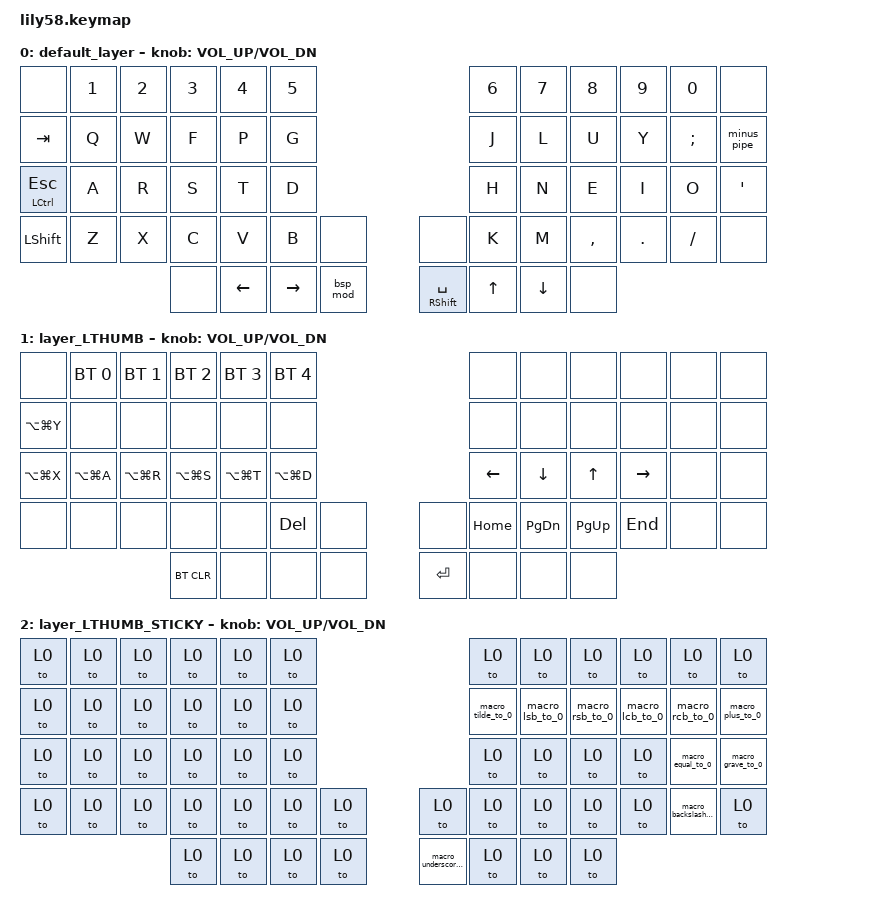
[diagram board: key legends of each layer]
/*
 * Copyright (c) 2020 The ZMK Contributors
 *
 * SPDX-License-Identifier: MIT
 */

#include <behaviors.dtsi>
#include <dt-bindings/zmk/keys.h>
#include <dt-bindings/zmk/bt.h>
#include <dt-bindings/zmk/ext_power.h>

/ {
    behaviors {
        #include "macros.dtsi"
        #include "custom.dtsi"
    };
    keymap {
        compatible = "zmk,keymap";

        default_layer {
// ------------------------------------------------------------------------------------------------------------
// |       |  1  |  2  |  3   |  4   |  5   |                   |  6   |  7    |  8    |  9   |   0   |       |
// |  TAB  |  Q  |  W  |  F   |  P   |  G   |                   |  J   |  L    |  U    |  Y   |   ;   |  - |  |
// |CTRLESC|  A  |  R  |  S   |  T   |  D   |                   |  H   |  N    |  E    |  I   |   O   |   '   |
// | SHIFT |  Z  |  X  |  C   |  V   |  B   |        |  |       |  K   |  M    |  ,    |  .   |   /   |       |
//                     |      | LEFT | RIGHT| LTHUMB |  | RTHUMB|  UP  | DOWN  |       |
            bindings = <
        &none &kp N1 &kp N2 &kp N3   &kp N4   &kp N5                            &kp N6 &kp N7   &kp N8    &kp N9  &kp N0   &none
      &kp TAB &kp Q  &kp W  &kp F    &kp P    &kp G                             &kp J  &kp L    &kp U     &kp Y   &kp SEMI &minus_pipe
&mt LCTRL ESC &kp A  &kp R  &kp S    &kp T    &kp D                             &kp H  &kp N    &kp E     &kp I   &kp O    &kp SQT
    &kp LSHFT &kp Z  &kp X  &kp C    &kp V    &kp B  &none                &none &kp K  &kp M    &kp COMMA &kp DOT &kp FSLH &none
                           &none &kp LEFT &kp RIGHT  &bsp_mod  &mt RSHIFT SPACE &kp UP &kp DOWN &none
            >;

            sensor-bindings = <&inc_dec_kp C_VOL_UP C_VOL_DN>;
        };

        layer_LTHUMB {
// ------------------------------------------------------------------------------------------------------------
// |       | BT1 | BT2 |  BT3 |  BT4 |  BT5 |                   |      |       |       |      |       |       |
// |  !Y   |  F2 |  F3 |  F4  |  F5  |  F6  |                   |      |       |       |      |       |       |
// |  !X   |  !A |  !R |  !S  |  !T  |  !D  |                   |  LT  |  DN   |  UP   |  RT  |       |       |
// |       |     |     |      |      |      |        |  |       | HOME |  PD   |  PU   |  END |       |       |
//                     | BTCLR|      |      |        |  |       |ENTER |       |       |
            bindings = <
&none         &bt BT_SEL 0  &bt BT_SEL 1  &bt BT_SEL 2  &bt BT_SEL 3  &bt BT_SEL 4                  &none     &none         &none       &none     &none     &none
&kp LA(LG(Y)) &none         &none         &none         &none         &none                         &none     &none         &none       &none     &none     &none
&kp LA(LG(X)) &kp LA(LG(A)) &kp LA(LG(R)) &kp LA(LG(S)) &kp LA(LG(T)) &kp LA(LG(D))                 &kp LEFT  &kp DOWN      &kp UP      &kp RIGHT &none     &none
&none         &none         &none         &none         &none         &kp DELETE &none    &none     &kp HOME  &kp PAGE_DOWN &kp PAGE_UP &kp END   &none     &none
                                          &bt BT_CLR    &none         &none      &none    &kp ENTER &none     &none         &none
            >;

            sensor-bindings = <&inc_dec_kp C_VOL_UP C_VOL_DN>;
        };

        layer_LTHUMB_STICKY {
// ------------------------------------------------------------------------------------------------------------
// |       |     |     |      |      |      |                   |      |       |       |      |       |       |
// |       |     |     |      |      |      |                   |  ~   |   [   |   ]   |  {   |   }   |   +   |
// |       |     |     |      |      |      |                   |      |       |       |      |   =   |   `   |
// |       |     |     |      |      |      |        |  |       |      |       |       |      |   \   |       |
//                     |      |      |      |        |  |       |  _   |       |       |
            bindings = <
&to 0 &to 0 &to 0 &to 0 &to 0 &to 0                                      &to 0           &to 0           &to 0           &to 0                 &to 0             &to 0
&to 0 &to 0 &to 0 &to 0 &to 0 &to 0                          &macro_tilde_to_0 &macro_lsb_to_0 &macro_rsb_to_0 &macro_lcb_to_0       &macro_rcb_to_0  &macro_plus_to_0
&to 0 &to 0 &to 0 &to 0 &to 0 &to 0                                      &to 0           &to 0           &to 0           &to 0     &macro_equal_to_0 &macro_grave_to_0
&to 0 &to 0 &to 0 &to 0 &to 0 &to 0 &to 0                          &to 0 &to 0           &to 0           &to 0           &to 0 &macro_backslash_to_0             &to 0
                       &to 0 &to 0 &to 0 &to 0     &macro_underscore_to_0 &to 0           &to 0           &to 0
            >;

            sensor-bindings = <&inc_dec_kp C_VOL_UP C_VOL_DN>;
        };
    };
};
